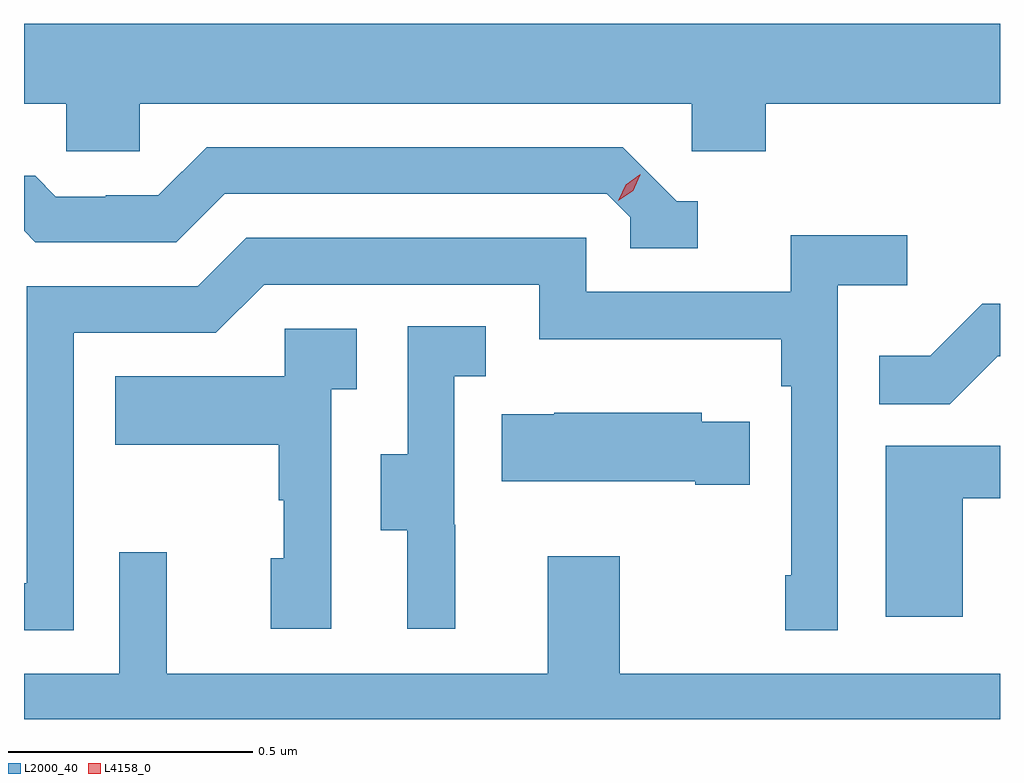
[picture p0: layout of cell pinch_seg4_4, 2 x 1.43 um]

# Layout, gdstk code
import gdstk
lib = gdstk.Library(unit=1e-6, precision=1e-09)
def P(c, l, *ps):  # polygons
    for p in ps: c.add(gdstk.Polygon(p, *l))
L2000_40 = (2000, 40)
L4158_0 = (4158, 0)

pinch_seg4_4 = lib.new_cell('pinch_seg4_4')
P(pinch_seg4_4, L2000_40, [(1100.877,831.452),(1102.008,831.452),(1102.008,831.354),(1102.16,831.354),(1102.16,831.452),(1102.64,831.452),(1102.64,831.616),(1100.64,831.616),(1100.64,831.452),(1100.727,831.452),(1100.727,831.354),(1100.877,831.354)],
  [(1102.021,831.252),(1101.978,831.252),(1101.867,831.363),(1101.014,831.363),(1100.915,831.264),(1100.808,831.264),(1100.808,831.261),(1100.705,831.261),(1100.663,831.304),(1100.64,831.304),(1100.64,831.191),(1100.663,831.168),(1100.952,831.168),(1101.051,831.267),(1101.834,831.267),(1101.882,831.219),(1101.882,831.156),(1102.021,831.156)],
  [(1100.742,830.982),(1101.033,830.982),(1101.132,831.081),(1101.696,831.081),(1101.696,830.969),(1102.192,830.969),(1102.192,830.873),(1102.212,830.873),(1102.212,830.485),(1102.2,830.485),(1102.2,830.373),(1102.308,830.373),(1102.308,831.08),(1102.45,831.08),(1102.45,831.182),(1102.211,831.182),(1102.211,831.066),(1101.792,831.066),(1101.792,831.177),(1101.095,831.177),(1100.996,831.078),(1100.646,831.078),(1100.646,830.469),(1100.64,830.469),(1100.64,830.373),(1100.742,830.373)],
  [(1102.635,830.934),(1102.64,830.934),(1102.64,831.042),(1102.604,831.042),(1102.497,830.935),(1102.393,830.935),(1102.393,830.836),(1102.537,830.836)],
  [(1101.524,830.589),(1101.522,830.589),(1101.522,830.893),(1101.586,830.893),(1101.586,830.996),(1101.426,830.996),(1101.426,830.733),(1101.371,830.733),(1101.371,830.578),(1101.425,830.578),(1101.425,830.376),(1101.524,830.376)],
  [(1101.27,830.867),(1101.322,830.867),(1101.322,830.991),(1101.174,830.991),(1101.174,830.893),(1100.827,830.893),(1100.827,830.753),(1101.162,830.753),(1101.162,830.639),(1101.172,830.639),(1101.172,830.52),(1101.146,830.52),(1101.146,830.376),(1101.27,830.376)],
  [(1102.127,830.8),(1102.029,830.8),(1102.029,830.818),(1101.727,830.818),(1101.727,830.815),(1101.619,830.815),(1101.619,830.678),(1102.016,830.678),(1102.016,830.671),(1102.127,830.671)],
  [(1102.564,830.643),(1102.64,830.643),(1102.64,830.751),(1102.406,830.751),(1102.406,830.4),(1102.564,830.4)],
  [(1102.64,830.284),(1101.861,830.284),(1101.861,830.524),(1101.713,830.524),(1101.713,830.284),(1100.933,830.284),(1100.933,830.533),(1100.835,830.533),(1100.835,830.284),(1100.64,830.284),(1100.64,830.19),(1102.64,830.19)])
P(pinch_seg4_4, L4158_0, [(1101.858,831.253),(1101.858,831.253),(1101.873,831.286),(1101.903,831.307),(1101.903,831.307),(1101.903,831.306),(1101.888,831.273),(1101.858,831.253)])

lib.write_gds('pinch_seg4_4.gds')
